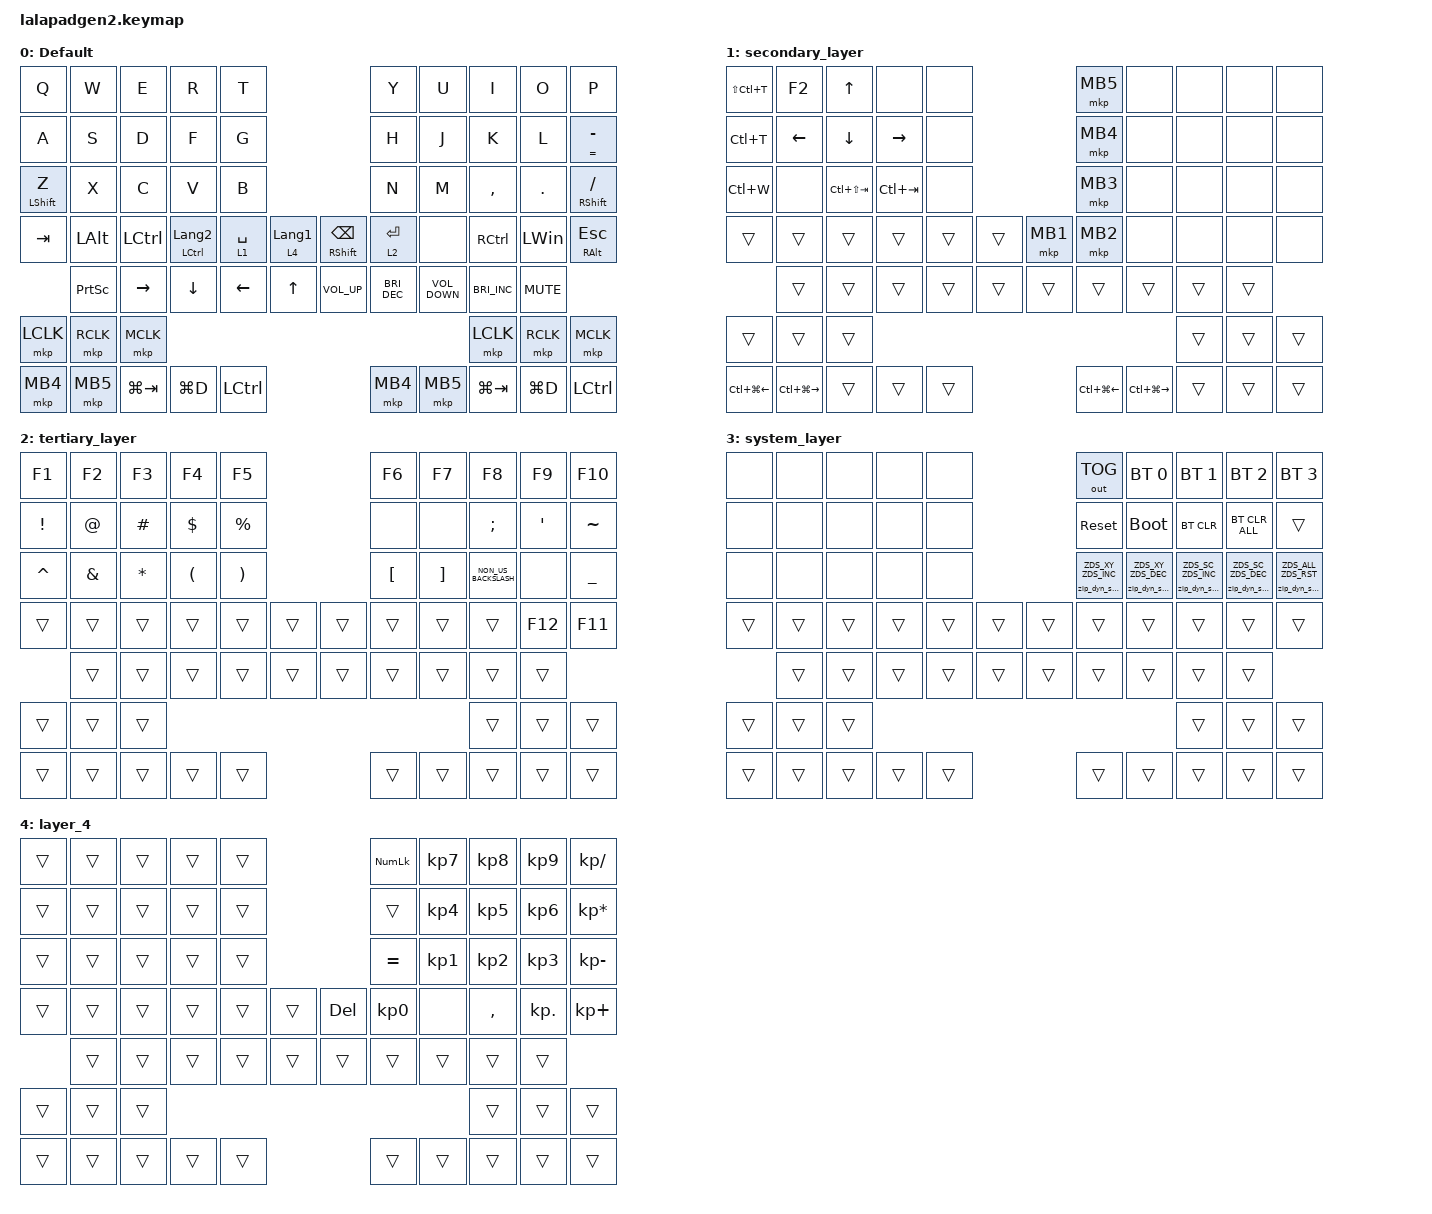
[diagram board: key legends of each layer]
#include <input/processors.dtsi>
#include <dt-bindings/zmk/zip_dynamic_scale.h>
#include <behaviors.dtsi>
#include <dt-bindings/zmk/bt.h>
#include <dt-bindings/zmk/keys.h>
#include <dt-bindings/zmk/outputs.h>
#include <dt-bindings/zmk/pointing.h>

#define DEFAULT_LAYER   0
#define SECONDARY_LAYER 1
#define TERTIARY_LAYER  2
#define SYSTEM_LAYER    3

&mt { quick-tap-ms = <200>; };

&lt { quick-tap-ms = <200>; };

/ {
    behaviors {
        zip_dyn_scale: zip_dyn_scale {
            compatible = "zmk,behavior-zip-dynamic-scale";
            #binding-cells = <2>;
        };

        zip_dyn_scale_set: zip_dyn_scale_set {
            compatible = "zmk,behavior-zip-dynamic-scale-set";
            #binding-cells = <2>;
        };

        mt2: mod_tap2 {
            compatible = "zmk,behavior-hold-tap";
            #binding-cells = <2>;
            flavor = "tap-preferred";
            tapping-term-ms = <200>;
            quick-tap-ms = <200>;
            require-prior-idle-ms = <125>;
            bindings = <&kp>, <&kp>;
        };

        tap_dance_layer_1and2: tap_dance_layer_1and2 {
            compatible = "zmk,behavior-tap-dance";
            label = "td_mo12";
            #binding-cells = <0>;
            bindings = <&mo 1>, <&mo 2>;
        };
    };

    combos {
        compatible = "zmk,combos";

        tab {
            bindings = <&kp TAB>;
            key-positions = <0 1>;
        };
    };

    keymap {
        compatible = "zmk,keymap";

        DEFAULT_LAYER {
            display-name = "Default";
            bindings = <
&kp Q              &kp W            &kp E             &kp R                        &kp T                                                     &kp Y                 &kp U              &kp I                 &kp O         &kp P
&kp A              &kp S            &kp D             &kp F                        &kp G                                                     &kp H                 &kp J              &kp K                 &kp L         &mt2 EQUAL MINUS
&mt2 LEFT_SHIFT Z  &kp X            &kp C             &kp V                        &kp B                                                     &kp N                 &kp M              &kp COMMA             &kp PERIOD    &mt RIGHT_SHIFT SLASH
&kp TAB            &kp LEFT_ALT     &kp LEFT_CONTROL  &mt LEFT_CONTROL LANGUAGE_2  &lt 1 SPACE  &lt 4 LANGUAGE_1  &mt RIGHT_SHIFT BACKSPACE  &lt 2 ENTER           &none              &kp RIGHT_CONTROL     &kp LEFT_WIN  &mt RIGHT_ALT ESCAPE
                   &kp PRINTSCREEN  &kp RIGHT         &kp DOWN                     &kp LEFT     &kp UP            &kp C_VOLUME_UP            &kp C_BRIGHTNESS_DEC  &kp C_VOLUME_DOWN  &kp C_BRIGHTNESS_INC  &kp C_MUTE
&mkp LCLK          &mkp RCLK        &mkp MCLK                                                                                                                                         &mkp LCLK             &mkp RCLK     &mkp MCLK
&mkp MB4           &mkp MB5         &kp LG(TAB)       &kp LG(D)                    &kp LCTRL                                                 &mkp MB4              &mkp MB5           &kp LG(TAB)           &kp LG(D)     &kp LCTRL
            >;
        };

        SECONDARY_LAYER {
            display-name = "secondary_layer";
            bindings = <
&kp LS(LC(T))     &kp F2             &kp UP           &none        &none                     &mkp MB5          &none              &none   &none   &none
&kp LC(T)         &kp LEFT           &kp DOWN         &kp RIGHT    &none                     &mkp MB4          &none              &none   &none   &none
&kp LC(W)         &none              &kp LC(LS(TAB))  &kp LC(TAB)  &none                     &mkp MB3          &none              &none   &none   &none
&trans            &trans             &trans           &trans       &trans  &trans  &mkp MB1  &mkp MB2          &none              &none   &none   &none
                  &trans             &trans           &trans       &trans  &trans  &trans    &trans            &trans             &trans  &trans
&trans            &trans             &trans                                                                                       &trans  &trans  &trans
&kp LC(LG(LEFT))  &kp LC(LG(RIGHT))  &trans           &trans       &trans                    &kp LC(LG(LEFT))  &kp LC(LG(RIGHT))  &trans  &trans  &trans
            >;
        };

        TERTIARY_LAYER {
            display-name = "tertiary_layer";
            bindings = <
&kp F1           &kp F2         &kp F3        &kp F4                &kp F5                                 &kp F6            &kp F7             &kp F8                &kp F9          &kp F10
&kp EXCLAMATION  &kp AT         &kp HASH      &kp DOLLAR            &kp PERCENT                            &none             &none              &kp SEMICOLON         &kp APOSTROPHE  &kp TILDE
&kp CARET        &kp AMPERSAND  &kp ASTERISK  &kp LEFT_PARENTHESIS  &kp RIGHT_PARENTHESIS                  &kp LEFT_BRACKET  &kp RIGHT_BRACKET  &kp NON_US_BACKSLASH  &none           &kp UNDER
&trans           &trans         &trans        &trans                &trans                 &trans  &trans  &trans            &trans             &trans                &kp F12         &kp F11
                 &trans         &trans        &trans                &trans                 &trans  &trans  &trans            &trans             &trans                &trans
&trans           &trans         &trans                                                                                                          &trans                &trans          &trans
&trans           &trans         &trans        &trans                &trans                                 &trans            &trans             &trans                &trans          &trans
            >;
        };

        SYSTEM_LAYER {
            display-name = "system_layer";
            bindings = <
&none   &none   &none   &none   &none                   &out OUT_TOG                   &bt BT_SEL 0                   &bt BT_SEL 1                   &bt BT_SEL 2                   &bt BT_SEL 3
&none   &none   &none   &none   &none                   &sys_reset                     &bootloader                    &bt BT_CLR                     &bt BT_CLR_ALL                 &trans
&none   &none   &none   &none   &none                   &zip_dyn_scale ZDS_XY ZDS_INC  &zip_dyn_scale ZDS_XY ZDS_DEC  &zip_dyn_scale ZDS_SC ZDS_INC  &zip_dyn_scale ZDS_SC ZDS_DEC  &zip_dyn_scale ZDS_ALL ZDS_RST
&trans  &trans  &trans  &trans  &trans  &trans  &trans  &trans                         &trans                         &trans                         &trans                         &trans
        &trans  &trans  &trans  &trans  &trans  &trans  &trans                         &trans                         &trans                         &trans
&trans  &trans  &trans                                                                                                &trans                         &trans                         &trans
&trans  &trans  &trans  &trans  &trans                  &trans                         &trans                         &trans                         &trans                         &trans
            >;
        };

        layer_4 {
            bindings = <
&trans  &trans  &trans  &trans  &trans                      &kp KP_NUMLOCK   &kp KP_NUMBER_7  &kp KP_NUMBER_8  &kp KP_NUMBER_9  &kp KP_SLASH
&trans  &trans  &trans  &trans  &trans                      &trans           &kp KP_NUMBER_4  &kp KP_NUMBER_5  &kp KP_NUMBER_6  &kp KP_MULTIPLY
&trans  &trans  &trans  &trans  &trans                      &kp EQUAL        &kp KP_NUMBER_1  &kp KP_NUMBER_2  &kp KP_NUMBER_3  &kp KP_MINUS
&trans  &trans  &trans  &trans  &trans  &trans  &kp DELETE  &kp KP_NUMBER_0  &none            &kp COMMA        &kp KP_DOT       &kp KP_PLUS
        &trans  &trans  &trans  &trans  &trans  &trans      &trans           &trans           &trans           &trans
&trans  &trans  &trans                                                                        &trans           &trans           &trans
&trans  &trans  &trans  &trans  &trans                      &trans           &trans           &trans           &trans           &trans
            >;
        };
    };

    conditional_layers {
        compatible = "zmk,conditional-layers";

        Cond_Syslayer {
            if-layers = <1 2>;
            then-layer = <3>;
        };
    };
};
